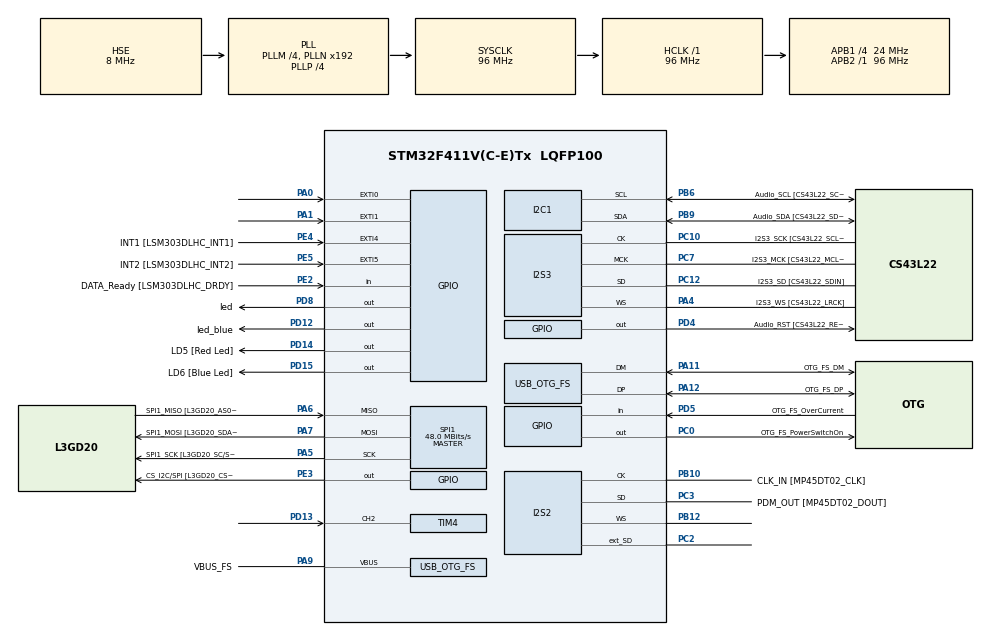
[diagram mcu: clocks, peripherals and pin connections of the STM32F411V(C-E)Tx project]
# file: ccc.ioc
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I2S2.AudioFreq=I2S_AUDIOFREQ_96K
I2S2.ErrorAudioFreq=0.15 %
I2S2.FullDuplexMode=I2S_FULLDUPLEXMODE_ENABLE
I2S2.Instance=SPI$Index
I2S2.RealAudioFreq=96.153 KHz
I2S2.VirtualMode=I2S_MODE_MASTER
I2S3.AudioFreq=I2S_AUDIOFREQ_96K
I2S3.ErrorAudioFreq=-6.99 %
I2S3.FullDuplexMode=I2S_FULLDUPLEXMODE_DISABLE
I2S3.Instance=SPI$Index
I2S3.RealAudioFreq=89.285 KHz
I2S3.VirtualMode=I2S_MODE_MASTER
Mcu.Family=STM32F4
Mcu.Name=STM32F411V(C-E)Tx
Mcu.Package=LQFP100
NVIC.EXTI0_IRQn=true\:2\:0\:true\:false\:true\:true\:true
NVIC.EXTI1_IRQn=true\:2\:0\:true\:false\:true\:true\:true
NVIC.OTG_FS_IRQn=true\:0\:0\:false\:false\:true\:true\:true
NVIC.PriorityGroup=NVIC_PRIORITYGROUP_2
NVIC.TIM4_IRQn=true\:1\:0\:true\:false\:true\:true\:true
PA0-WKUP.Signal=GPXTI0
PA1.Signal=GPXTI1
PA10.GPIO_Label=OTG_FS_ID
PA10.Signal=USB_OTG_FS_ID
PA11.GPIO_Label=OTG_FS_DM
PA11.Mode=Host_Only
PA11.Signal=USB_OTG_FS_DM
PA12.GPIO_Label=OTG_FS_DP
PA12.Mode=Host_Only
PA12.Signal=USB_OTG_FS_DP
PA13.GPIO_Label=SWDIO
PA13.Mode=Serial_Wire
PA13.Signal=SYS_JTMS-SWDIO
PA14.GPIO_Label=SWCLK
PA14.Mode=Serial_Wire
PA14.Signal=SYS_JTCK-SWCLK
PA4.GPIO_Label=I2S3_WS [CS43L22_LRCK]
PA4.GPIO_Mode=GPIO_MODE_AF_PP
PA4.GPIO_PuPd=GPIO_NOPULL
PA4.GPIO_Speed=GPIO_SPEED_FREQ_LOW
PA4.Mode=Half_Duplex_Master
PA4.Signal=I2S3_WS
PA5.GPIO_Label=SPI1_SCK [L3GD20_SC/SPC]
PA5.Mode=Full_Duplex_Master
PA5.Signal=SPI1_SCK
PA6.GPIO_Label=SPI1_MISO [L3GD20_AS0/SDO]
PA6.Mode=Full_Duplex_Master
PA6.Signal=SPI1_MISO
PA7.GPIO_Label=SPI1_MOSI [L3GD20_SDA/SDI/SDO]
PA7.Mode=Full_Duplex_Master
PA7.Signal=SPI1_MOSI
PA9.GPIO_Label=VBUS_FS
PA9.Mode=Activate_VBUS
PA9.Signal=USB_OTG_FS_VBUS
PB10.GPIO_Label=CLK_IN [MP45DT02_CLK]
PB10.Mode=Full_Duplex_Master
PB10.Signal=I2S2_CK
PB12.Mode=Full_Duplex_Master
PB12.Signal=I2S2_WS
PB3.GPIO_Label=SWO
PB3.Signal=SYS_JTDO-SWO
PB6.GPIO_Label=Audio_SCL [CS43L22_SCL]
PB6.GPIO_Mode=GPIO_MODE_AF_OD
PB6.GPIO_PuPd=GPIO_NOPULL
PB6.GPIO_Speed=GPIO_SPEED_FREQ_LOW
PB6.Mode=I2C
PB6.Signal=I2C1_SCL
PB9.GPIO_Label=Audio_SDA [CS43L22_SDA]
PB9.GPIO_Mode=GPIO_MODE_AF_OD
PB9.GPIO_PuPd=GPIO_NOPULL
PB9.GPIO_Speed=GPIO_SPEED_FREQ_LOW
PB9.Mode=I2C
PB9.Signal=I2C1_SDA
PC0.GPIO_Label=OTG_FS_PowerSwitchOn
PC0.PinState=GPIO_PIN_SET
PC0.Signal=GPIO_Output
PC10.GPIO_Label=I2S3_SCK [CS43L22_SCLK]
PC10.GPIO_Mode=GPIO_MODE_AF_PP
PC10.GPIO_PuPd=GPIO_NOPULL
PC10.GPIO_Speed=GPIO_SPEED_FREQ_LOW
PC10.Mode=Half_Duplex_Master
PC10.Signal=I2S3_CK
PC12.GPIO_Label=I2S3_SD [CS43L22_SDIN]
PC12.GPIO_Mode=GPIO_MODE_AF_PP
PC12.GPIO_PuPd=GPIO_NOPULL
PC12.GPIO_Speed=GPIO_SPEED_FREQ_LOW
PC12.Mode=Half_Duplex_Master
PC12.Signal=I2S3_SD
PC14-OSC32_IN.GPIO_Label=PC14-OSC32_IN
PC14-OSC32_IN.Mode=LSE-External-Oscillator
PC14-OSC32_IN.Signal=RCC_OSC32_IN
PC15-OSC32_OUT.GPIO_Label=PC15-OSC32_OUT
PC15-OSC32_OUT.Mode=LSE-External-Oscillator
PC15-OSC32_OUT.Signal=RCC_OSC32_OUT
PC2.Mode=Full_Duplex_Master
PC2.Signal=I2S2_ext_SD
PC3.GPIO_Label=PDM_OUT [MP45DT02_DOUT]
PC3.Mode=Full_Duplex_Master
PC3.Signal=I2S2_SD
PC7.GPIO_Label=I2S3_MCK [CS43L22_MCLK]
PC7.GPIO_Mode=GPIO_MODE_AF_PP
PC7.GPIO_PuPd=GPIO_NOPULL
PC7.GPIO_Speed=GPIO_SPEED_FREQ_LOW
PC7.Mode=Master_Clock_Activated
PC7.Signal=I2S3_MCK
PD12.GPIO_Label=led_blue
PD12.Signal=GPIO_Output
PD13.Signal=S_TIM4_CH2
PD14.GPIO_Label=LD5 [Red Led]
PD14.GPIO_PuPd=GPIO_NOPULL
PD14.GPIO_Speed=GPIO_SPEED_FREQ_LOW
PD14.Signal=GPIO_Output
PD15.GPIO_Label=LD6 [Blue Led]
PD15.GPIO_PuPd=GPIO_NOPULL
PD15.GPIO_Speed=GPIO_SPEED_FREQ_LOW
PD15.Signal=GPIO_Output
PD4.GPIO_Label=Audio_RST [CS43L22_RESET]
PD4.Signal=GPIO_Output
PD5.GPIO_Label=OTG_FS_OverCurrent
PD5.Signal=GPIO_Input
PD8.GPIO_Label=led
PD8.Signal=GPIO_Output
PE2.GPIO_Label=DATA_Ready [LSM303DLHC_DRDY]
PE2.Signal=GPIO_Input
PE3.GPIO_Label=CS_I2C/SPI [L3GD20_CS_I2C/SPI]
PE3.Signal=GPIO_Output
PE4.GPIO_Label=INT1 [LSM303DLHC_INT1]
PE4.GPIO_ModeDefaultEXTI=GPIO_MODE_EVT_RISING
PE4.Signal=GPXTI4
PE5.GPIO_Label=INT2 [LSM303DLHC_INT2]
PE5.GPIO_ModeDefaultEXTI=GPIO_MODE_EVT_RISING
PE5.Signal=GPXTI5
PH0\ -\ OSC_IN.GPIO_Label=PH0-OSC_IN
PH0\ -\ OSC_IN.Mode=HSE-External-Clock-Source
PH0\ -\ OSC_IN.Signal=RCC_OSC_IN
PH1\ -\ OSC_OUT.GPIO_Label=PH1-OSC_OUT
PH1\ -\ OSC_OUT.Mode=HSE-External-Clock-Source
PH1\ -\ OSC_OUT.Signal=RCC_OSC_OUT
ProjectManager.HeapSize=0x200
ProjectManager.StackSize=0x400
ProjectManager.TargetToolchain=STM32CubeIDE
RCC.48MHZClocksFreq_Value=48000000
RCC.AHBFreq_Value=96000000
RCC.APB1CLKDivider=RCC_HCLK_DIV4
RCC.APB1Freq_Value=24000000
RCC.APB1TimFreq_Value=48000000
RCC.APB2Freq_Value=96000000
RCC.APB2TimFreq_Value=96000000
RCC.CortexFreq_Value=96000000
RCC.HCLKFreq_Value=96000000
RCC.HSE_VALUE=8000000
RCC.HSI_VALUE=16000000
RCC.PLLI2SM=5
RCC.PLLI2SN=200
RCC.PLLM=4
RCC.PLLP=RCC_PLLP_DIV4
RCC.PLLQ=8
RCC.SYSCLKFreq_VALUE=96000000
RCC.SYSCLKSource=RCC_SYSCLKSOURCE_PLLCLK
RCC.VCOOutputFreq_Value=384000000
SH.S_TIM4_CH2.0=TIM4_CH2,Input_Capture2_from_TI2
SPI1.BaudRatePrescaler=SPI_BAUDRATEPRESCALER_2
SPI1.CalculateBaudRate=48.0 MBits/s
SPI1.Direction=SPI_DIRECTION_2LINES
SPI1.Mode=SPI_MODE_MASTER
SPI1.VirtualType=VM_MASTER
TIM2.Prescaler=15
TIM4.Channel-Input_Capture2_from_TI2=TIM_CHANNEL_2
TIM4.ICPolarity_CH2=TIM_INPUTCHANNELPOLARITY_BOTHEDGE
TIM4.Prescaler=15
USB_HOST.BSP.number=1
USB_HOST.USBH_HandleTypeDef=hUsbHostFS
USB_HOST.VirtualModeFS=Cdc
USB_HOST0.BSP.STBoard=false
USB_HOST0.BSP.api=Unknown
USB_HOST0.BSP.i2caddr=0
USB_HOST0.BSP.i2creg=0
USB_HOST0.BSP.instance=PC0
USB_HOST0.BSP.ip=GPIO
USB_HOST0.BSP.mode=Output
USB_HOST0.BSP.name=Drive_VBUS_FS
USB_HOST0.BSP.solution=PC0
USB_OTG_FS.VirtualMode=Host_Only
USB_OTG_FS.phy_itface=HCD_PHY_EMBEDDED
VP_TIM2_VS_ClockSourceINT.Mode=Internal
VP_TIM4_VS_ClockSourceINT.Mode=Internal
VP_USB_HOST_VS_USB_HOST_CDC_FS.Mode=CDC_FS
board=STM32F411E-DISCO

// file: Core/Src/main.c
/* USER CODE BEGIN Header */
/**
 ******************************************************************************
 * @file           : main.c
 * @brief          : Main program body
 ******************************************************************************
 * @attention
 *
 * <h2><center>&copy; Copyright (c) 2020 STMicroelectronics.
 * All rights reserved.</center></h2>
 *
 * This software component is licensed by ST under Ultimate Liberty license
 * SLA0044, the "License"; You may not use this file except in compliance with
 * the License. You may obtain a copy of the License at:
 *                             www.st.com/SLA0044
 *
 ******************************************************************************
 */
/* USER CODE END Header */
#include "main.h"
#include "usb_host.h"

I2C_HandleTypeDef hi2c1;

I2S_HandleTypeDef hi2s2;
I2S_HandleTypeDef hi2s3;

SPI_HandleTypeDef hspi1;

TIM_HandleTypeDef htim2;
TIM_HandleTypeDef htim4;

/* USER CODE BEGIN PV */
uint8_t thietbi = 1;
uint16_t IcVal = 0;
uint16_t PreIcVal = 0;
uint16_t T;
uint16_t IR_thietbi1[400] = { 0 };
uint16_t IR_thietbi2[400] = { 0 };
uint16_t IR_thietbi3[400] = { 0 };
uint16_t counter = 0;
uint8_t start = 0;
uint8_t check = 0;

/* USER CODE END PV */

void SystemClock_Config(void);
static void MX_GPIO_Init(void);
static void MX_I2C1_Init(void);
static void MX_I2S2_Init(void);
static void MX_I2S3_Init(void);
static void MX_SPI1_Init(void);
static void MX_TIM2_Init(void);
static void MX_TIM4_Init(void);
void MX_USB_HOST_Process(void);

/* USER CODE BEGIN 0 */
void HAL_TIM_IC_CaptureCallback(TIM_HandleTypeDef *htim) {
	HAL_GPIO_TogglePin(led_blue_GPIO_Port, led_blue_Pin);
	IcVal = __HAL_TIM_GET_COMPARE(&htim4, TIM_CHANNEL_2);
	if (IcVal > PreIcVal) {
		T = IcVal - PreIcVal;
	} else if (IcVal < PreIcVal) {
		T = 0xffff - PreIcVal + IcVal + 1;
	}
	PreIcVal = IcVal;

	if (start == 1) {
		if (thietbi == 1) {
			if (counter < 399) {
				IR_thietbi1[counter] = T;
				counter++;
			} else {
				counter = 0;
				thietbi = 2;
			}
		}
	}
	if (start == 2) {
		if (thietbi == 2) {
			if (counter < 399) {
				IR_thietbi2[counter] = T;
				counter++;
			} else {
				counter = 0;
				thietbi = 3;
			}
		}
	}

	if (start == 3) {
		if (thietbi == 3) {
			if (counter < 399) {
				IR_thietbi3[counter] = T;
				counter++;
			} else {
				counter = 0;
				thietbi = 1;
				start = 0;
			}
		}
	}
}

void HAL_GPIO_EXTI_Callback(uint16_t GPIO_Pin) {

	if (GPIO_Pin == GPIO_PIN_0) {
		start++;
		if (start > thietbi) {
			start = thietbi;
		}
	}
	if (GPIO_Pin == GPIO_PIN_1) {
		for (uint8_t i = 0; i < 200; i++) {
			HAL_GPIO_TogglePin(led_GPIO_Port, led_Pin);
			delay_us(IR_thietbi1[i]);
		}
		HAL_GPIO_WritePin(led_GPIO_Port, led_Pin, GPIO_PIN_RESET);
	}

}

void delay_us(uint32_t us) {
	__HAL_TIM_SET_COUNTER(&htim2, 0);
	while (__HAL_TIM_GET_COUNTER(&htim2) < us);
}

/* USER CODE END 0 */

int main(void)
{

  /* MCU Configuration--------------------------------------------------------*/

  /* Reset of all peripherals, Initializes the Flash interface and the Systick. */
  HAL_Init();

  /* Configure the system clock */
  SystemClock_Config();

  /* Initialize all configured peripherals */
  MX_GPIO_Init();
  MX_I2C1_Init();
  MX_I2S2_Init();
  MX_I2S3_Init();
  MX_SPI1_Init();
  MX_USB_HOST_Init();
  MX_TIM2_Init();
  MX_TIM4_Init();
  /* USER CODE BEGIN 2 */
	HAL_TIM_IC_Start_IT(&htim4, TIM_CHANNEL_2);
  /* USER CODE END 2 */

  /* Infinite loop */
	while (1) {
    MX_USB_HOST_Process();

	}
}

void SystemClock_Config(void)
{
  RCC_OscInitTypeDef RCC_OscInitStruct = {0};
  RCC_ClkInitTypeDef RCC_ClkInitStruct = {0};
  RCC_PeriphCLKInitTypeDef PeriphClkInitStruct = {0};

  /** Configure the main internal regulator output voltage
  */
  __HAL_RCC_PWR_CLK_ENABLE();
  __HAL_PWR_VOLTAGESCALING_CONFIG(PWR_REGULATOR_VOLTAGE_SCALE1);
  /** Initializes the RCC Oscillators according to the specified parameters
  * in the RCC_OscInitTypeDef structure.
  */
  RCC_OscInitStruct.OscillatorType = RCC_OSCILLATORTYPE_HSE;
  RCC_OscInitStruct.HSEState = RCC_HSE_BYPASS;
  RCC_OscInitStruct.PLL.PLLState = RCC_PLL_ON;
  RCC_OscInitStruct.PLL.PLLSource = RCC_PLLSOURCE_HSE;
  RCC_OscInitStruct.PLL.PLLM = 4;
  RCC_OscInitStruct.PLL.PLLN = 192;
  RCC_OscInitStruct.PLL.PLLP = RCC_PLLP_DIV4;
  RCC_OscInitStruct.PLL.PLLQ = 8;
  if (HAL_RCC_OscConfig(&RCC_OscInitStruct) != HAL_OK)
  {
    Error_Handler();
  }
  /** Initializes the CPU, AHB and APB buses clocks
  */
  RCC_ClkInitStruct.ClockType = RCC_CLOCKTYPE_HCLK|RCC_CLOCKTYPE_SYSCLK
                              |RCC_CLOCKTYPE_PCLK1|RCC_CLOCKTYPE_PCLK2;
  RCC_ClkInitStruct.SYSCLKSource = RCC_SYSCLKSOURCE_PLLCLK;
  RCC_ClkInitStruct.AHBCLKDivider = RCC_SYSCLK_DIV1;
  RCC_ClkInitStruct.APB1CLKDivider = RCC_HCLK_DIV4;
  RCC_ClkInitStruct.APB2CLKDivider = RCC_HCLK_DIV1;

  if (HAL_RCC_ClockConfig(&RCC_ClkInitStruct, FLASH_LATENCY_3) != HAL_OK)
  {
    Error_Handler();
  }
  PeriphClkInitStruct.PeriphClockSelection = RCC_PERIPHCLK_I2S;
  PeriphClkInitStruct.PLLI2S.PLLI2SN = 200;
  PeriphClkInitStruct.PLLI2S.PLLI2SM = 5;
  PeriphClkInitStruct.PLLI2S.PLLI2SR = 2;
  if (HAL_RCCEx_PeriphCLKConfig(&PeriphClkInitStruct) != HAL_OK)
  {
    Error_Handler();
  }
}

static void MX_I2C1_Init(void)
{

  hi2c1.Instance = I2C1;
  hi2c1.Init.ClockSpeed = 100000;
  hi2c1.Init.DutyCycle = I2C_DUTYCYCLE_2;
  hi2c1.Init.OwnAddress1 = 0;
  hi2c1.Init.AddressingMode = I2C_ADDRESSINGMODE_7BIT;
  hi2c1.Init.DualAddressMode = I2C_DUALADDRESS_DISABLE;
  hi2c1.Init.OwnAddress2 = 0;
  hi2c1.Init.GeneralCallMode = I2C_GENERALCALL_DISABLE;
  hi2c1.Init.NoStretchMode = I2C_NOSTRETCH_DISABLE;
  if (HAL_I2C_Init(&hi2c1) != HAL_OK)
  {
    Error_Handler();
  }

}

static void MX_I2S2_Init(void)
{

  hi2s2.Instance = SPI2;
  hi2s2.Init.Mode = I2S_MODE_MASTER_TX;
  hi2s2.Init.Standard = I2S_STANDARD_PHILIPS;
  hi2s2.Init.DataFormat = I2S_DATAFORMAT_16B;
  hi2s2.Init.MCLKOutput = I2S_MCLKOUTPUT_DISABLE;
  hi2s2.Init.AudioFreq = I2S_AUDIOFREQ_96K;
  hi2s2.Init.CPOL = I2S_CPOL_LOW;
  hi2s2.Init.ClockSource = I2S_CLOCK_PLL;
  hi2s2.Init.FullDuplexMode = I2S_FULLDUPLEXMODE_ENABLE;
  if (HAL_I2S_Init(&hi2s2) != HAL_OK)
  {
    Error_Handler();
  }

}

static void MX_I2S3_Init(void)
{

  hi2s3.Instance = SPI3;
  hi2s3.Init.Mode = I2S_MODE_MASTER_TX;
  hi2s3.Init.Standard = I2S_STANDARD_PHILIPS;
  hi2s3.Init.DataFormat = I2S_DATAFORMAT_16B;
  hi2s3.Init.MCLKOutput = I2S_MCLKOUTPUT_ENABLE;
  hi2s3.Init.AudioFreq = I2S_AUDIOFREQ_96K;
  hi2s3.Init.CPOL = I2S_CPOL_LOW;
  hi2s3.Init.ClockSource = I2S_CLOCK_PLL;
  hi2s3.Init.FullDuplexMode = I2S_FULLDUPLEXMODE_DISABLE;
  if (HAL_I2S_Init(&hi2s3) != HAL_OK)
  {
    Error_Handler();
  }

}

static void MX_SPI1_Init(void)
{

  /* SPI1 parameter configuration*/
  hspi1.Instance = SPI1;
  hspi1.Init.Mode = SPI_MODE_MASTER;
  hspi1.Init.Direction = SPI_DIRECTION_2LINES;
  hspi1.Init.DataSize = SPI_DATASIZE_8BIT;
  hspi1.Init.CLKPolarity = SPI_POLARITY_LOW;
  hspi1.Init.CLKPhase = SPI_PHASE_1EDGE;
  hspi1.Init.NSS = SPI_NSS_SOFT;
  hspi1.Init.BaudRatePrescaler = SPI_BAUDRATEPRESCALER_2;
  hspi1.Init.FirstBit = SPI_FIRSTBIT_MSB;
  hspi1.Init.TIMode = SPI_TIMODE_DISABLE;
  hspi1.Init.CRCCalculation = SPI_CRCCALCULATION_DISABLE;
  hspi1.Init.CRCPolynomial = 10;
  if (HAL_SPI_Init(&hspi1) != HAL_OK)
  {
    Error_Handler();
  }

}

static void MX_TIM2_Init(void)
{

  TIM_ClockConfigTypeDef sClockSourceConfig = {0};
  TIM_MasterConfigTypeDef sMasterConfig = {0};

  htim2.Instance = TIM2;
  htim2.Init.Prescaler = 15;
  htim2.Init.CounterMode = TIM_COUNTERMODE_UP;
  htim2.Init.Period = 4294967295;
  htim2.Init.ClockDivision = TIM_CLOCKDIVISION_DIV1;
  htim2.Init.AutoReloadPreload = TIM_AUTORELOAD_PRELOAD_DISABLE;
  if (HAL_TIM_Base_Init(&htim2) != HAL_OK)
  {
    Error_Handler();
  }
  sClockSourceConfig.ClockSource = TIM_CLOCKSOURCE_INTERNAL;
  if (HAL_TIM_ConfigClockSource(&htim2, &sClockSourceConfig) != HAL_OK)
  {
    Error_Handler();
  }
  sMasterConfig.MasterOutputTrigger = TIM_TRGO_RESET;
  sMasterConfig.MasterSlaveMode = TIM_MASTERSLAVEMODE_DISABLE;
  if (HAL_TIMEx_MasterConfigSynchronization(&htim2, &sMasterConfig) != HAL_OK)
  {
    Error_Handler();
  }

}

static void MX_TIM4_Init(void)
{

  TIM_ClockConfigTypeDef sClockSourceConfig = {0};
  TIM_MasterConfigTypeDef sMasterConfig = {0};
  TIM_IC_InitTypeDef sConfigIC = {0};

  htim4.Instance = TIM4;
  htim4.Init.Prescaler = 15;
  htim4.Init.CounterMode = TIM_COUNTERMODE_UP;
  htim4.Init.Period = 65535;
  htim4.Init.ClockDivision = TIM_CLOCKDIVISION_DIV1;
  htim4.Init.AutoReloadPreload = TIM_AUTORELOAD_PRELOAD_DISABLE;
  if (HAL_TIM_Base_Init(&htim4) != HAL_OK)
  {
    Error_Handler();
  }
  sClockSourceConfig.ClockSource = TIM_CLOCKSOURCE_INTERNAL;
  if (HAL_TIM_ConfigClockSource(&htim4, &sClockSourceConfig) != HAL_OK)
  {
    Error_Handler();
  }
  if (HAL_TIM_IC_Init(&htim4) != HAL_OK)
  {
    Error_Handler();
  }
  sMasterConfig.MasterOutputTrigger = TIM_TRGO_RESET;
  sMasterConfig.MasterSlaveMode = TIM_MASTERSLAVEMODE_DISABLE;
  if (HAL_TIMEx_MasterConfigSynchronization(&htim4, &sMasterConfig) != HAL_OK)
  {
    Error_Handler();
  }
  sConfigIC.ICPolarity = TIM_INPUTCHANNELPOLARITY_BOTHEDGE;
  sConfigIC.ICSelection = TIM_ICSELECTION_DIRECTTI;
  sConfigIC.ICPrescaler = TIM_ICPSC_DIV1;
  sConfigIC.ICFilter = 0;
  if (HAL_TIM_IC_ConfigChannel(&htim4, &sConfigIC, TIM_CHANNEL_2) != HAL_OK)
  {
    Error_Handler();
  }

}

static void MX_GPIO_Init(void)
{
  GPIO_InitTypeDef GPIO_InitStruct = {0};

  /* GPIO Ports Clock Enable */
  __HAL_RCC_GPIOE_CLK_ENABLE();
  __HAL_RCC_GPIOC_CLK_ENABLE();
  __HAL_RCC_GPIOH_CLK_ENABLE();
  __HAL_RCC_GPIOA_CLK_ENABLE();
  __HAL_RCC_GPIOB_CLK_ENABLE();
  __HAL_RCC_GPIOD_CLK_ENABLE();

  /*Configure GPIO pin Output Level */
  HAL_GPIO_WritePin(CS_I2C_SPI_GPIO_Port, CS_I2C_SPI_Pin, GPIO_PIN_RESET);

  /*Configure GPIO pin Output Level */
  HAL_GPIO_WritePin(OTG_FS_PowerSwitchOn_GPIO_Port, OTG_FS_PowerSwitchOn_Pin, GPIO_PIN_SET);

  /*Configure GPIO pin Output Level */
  HAL_GPIO_WritePin(GPIOD, led_Pin|led_blue_Pin|LD5_Pin|LD6_Pin
                          |Audio_RST_Pin, GPIO_PIN_RESET);

  /*Configure GPIO pin : DATA_Ready_Pin */
  GPIO_InitStruct.Pin = DATA_Ready_Pin;
  GPIO_InitStruct.Mode = GPIO_MODE_INPUT;
  GPIO_InitStruct.Pull = GPIO_NOPULL;
  HAL_GPIO_Init(DATA_Ready_GPIO_Port, &GPIO_InitStruct);

  /*Configure GPIO pin : CS_I2C_SPI_Pin */
  GPIO_InitStruct.Pin = CS_I2C_SPI_Pin;
  GPIO_InitStruct.Mode = GPIO_MODE_OUTPUT_PP;
  GPIO_InitStruct.Pull = GPIO_NOPULL;
  GPIO_InitStruct.Speed = GPIO_SPEED_FREQ_LOW;
  HAL_GPIO_Init(CS_I2C_SPI_GPIO_Port, &GPIO_InitStruct);

  /*Configure GPIO pins : INT1_Pin INT2_Pin */
  GPIO_InitStruct.Pin = INT1_Pin|INT2_Pin;
  GPIO_InitStruct.Mode = GPIO_MODE_EVT_RISING;
  GPIO_InitStruct.Pull = GPIO_NOPULL;
  HAL_GPIO_Init(GPIOE, &GPIO_InitStruct);

  /*Configure GPIO pin : OTG_FS_PowerSwitchOn_Pin */
  GPIO_InitStruct.Pin = OTG_FS_PowerSwitchOn_Pin;
  GPIO_InitStruct.Mode = GPIO_MODE_OUTPUT_PP;
  GPIO_InitStruct.Pull = GPIO_NOPULL;
  GPIO_InitStruct.Speed = GPIO_SPEED_FREQ_LOW;
  HAL_GPIO_Init(OTG_FS_PowerSwitchOn_GPIO_Port, &GPIO_InitStruct);

  /*Configure GPIO pins : PA0 PA1 */
  GPIO_InitStruct.Pin = GPIO_PIN_0|GPIO_PIN_1;
  GPIO_InitStruct.Mode = GPIO_MODE_IT_RISING;
  GPIO_InitStruct.Pull = GPIO_NOPULL;
  HAL_GPIO_Init(GPIOA, &GPIO_InitStruct);

  /*Configure GPIO pins : led_Pin led_blue_Pin LD5_Pin LD6_Pin
                           Audio_RST_Pin */
  GPIO_InitStruct.Pin = led_Pin|led_blue_Pin|LD5_Pin|LD6_Pin
                          |Audio_RST_Pin;
  GPIO_InitStruct.Mode = GPIO_MODE_OUTPUT_PP;
  GPIO_InitStruct.Pull = GPIO_NOPULL;
  GPIO_InitStruct.Speed = GPIO_SPEED_FREQ_LOW;
  HAL_GPIO_Init(GPIOD, &GPIO_InitStruct);

  /*Configure GPIO pin : OTG_FS_OverCurrent_Pin */
  GPIO_InitStruct.Pin = OTG_FS_OverCurrent_Pin;
  GPIO_InitStruct.Mode = GPIO_MODE_INPUT;
  GPIO_InitStruct.Pull = GPIO_NOPULL;
  HAL_GPIO_Init(OTG_FS_OverCurrent_GPIO_Port, &GPIO_InitStruct);

  /* EXTI interrupt init*/
  HAL_NVIC_SetPriority(EXTI0_IRQn, 2, 0);
  HAL_NVIC_EnableIRQ(EXTI0_IRQn);

  HAL_NVIC_SetPriority(EXTI1_IRQn, 2, 0);
  HAL_NVIC_EnableIRQ(EXTI1_IRQn);

}

void Error_Handler(void)
{
}

/************************ (C) COPYRIGHT STMicroelectronics *****END OF FILE****/
